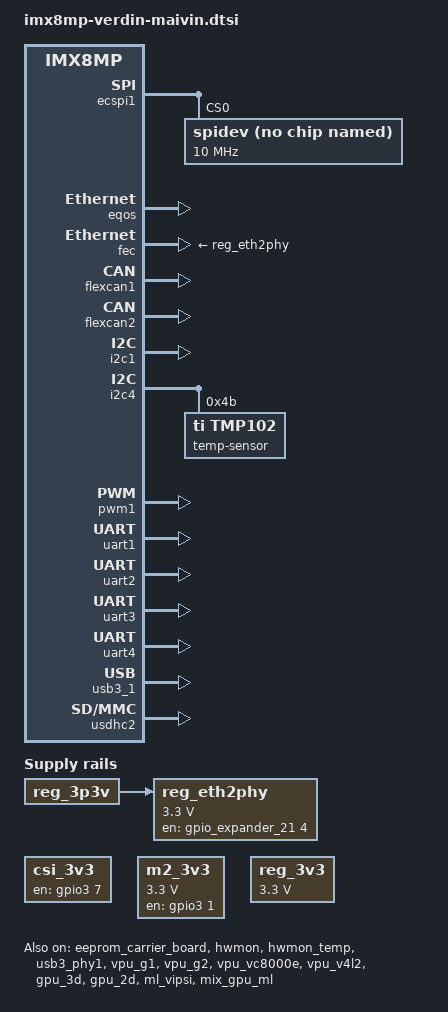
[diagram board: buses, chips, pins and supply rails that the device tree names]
// SPDX-License-Identifier: GPL-2.0-or-later OR MIT
/*
 * Copyright 2022 Toradex
 */

/ {
	reg_eth2phy: regulator-eth2phy {
		compatible = "regulator-fixed";
		enable-active-high;
		gpio = <&gpio_expander_21 4 GPIO_ACTIVE_HIGH>; /* ETH_PWR_EN */
		off-on-delay = <500000>;
		regulator-max-microvolt = <3300000>;
		regulator-min-microvolt = <3300000>;
		regulator-name = "+V3.3_ETH";
		startup-delay-us = <200000>;
		vin-supply = <&reg_3p3v>;
	};

	csi_3v3: regulator-csi-3v3 {
		compatible = "regulator-fixed";
		regulator-name = "CSI_3V3";
		pinctrl-names = "default";
		pinctrl-0 = <&pinctrl_csi_3v3>;
		gpio = <&gpio3 7 GPIO_ACTIVE_HIGH>;
		startup-delay-us = <50000>;
		enable-active-high;
		regulator-always-on;
	};

	m2_3v3: regulator-m2-3v3 {
		compatible = "regulator-fixed";
		regulator-name = "M2_3V3";
		regulator-max-microvolt = <3300000>;
		regulator-min-microvolt = <3300000>;
		pinctrl-names = "default";
		pinctrl-0 = <&pinctrl_m2>;
		gpio = <&gpio3 1 GPIO_ACTIVE_HIGH>;
		enable-active-high;
		regulator-always-on;
	};

	/* Carrier Board Supply 3V3_SW */
	reg_3v3: regulator-3v3-sw {
		compatible = "regulator-fixed";
		regulator-max-microvolt = <3300000>;
		regulator-min-microvolt = <3300000>;
		regulator-name = "3V3_SW";
	};

	leds: led-controller {
		compatible = "pwm-leds";
	};
};

/* Verdin SPI_1 */
&ecspi1 {
	#address-cells = <1>;
	#size-cells = <0>;
	status = "okay";

	spidev@0 {
		/* Use compatible "rohm,dh2228fv" to bind spidev driver */
		compatible = "rohm,dh2228fv";
		reg = <0>;
		spi-max-frequency = <10000000>;
	};
};

/* EEPROM on Verdin Development board */
&eeprom_carrier_board {
	status = "okay";
};

&eqos {
	status = "okay";
};

&fec {
	phy-supply = <&reg_eth2phy>;
	status = "okay";
};

&flexcan1 {
	status = "okay";
};

&flexcan2 {
	status = "okay";
};

&flexspi {
	status = "disabled";
};

&gpio_expander_21 {
	status = "okay";
	vcc-supply = <&reg_1p8v>;
};

/* Current measurement into module VCC */
&hwmon {
	status = "okay";
};

&hwmon_temp {
	vs-supply = <&reg_1p8v>;
	status = "okay";
};

/* Verdin Internal I2C Bus */
&i2c1 {
	status = "okay";
};

/* Verdin I2C_2 */
&i2c2 {
	status = "disabled";
};

/* Verdin I2C_4 */
&i2c3 {
	status = "disabled";
};

/* Verdin I2C_1 */
&i2c4 {
	status = "okay";

	temp-sensor@4b {
		compatible = "ti,tmp102", "tmp102";
		reg = <0x4b>;
	};
};

/* Verdin PCIE_1 */
&pcie {
	status = "disabled";
	pinctrl-names = "default";
	pinctrl-0 = <&pinctrl_m2>;
	reset-gpio = <&gpio3 9 GPIO_ACTIVE_LOW>;	/* /M2_RST (SODIMM 62) */
	disable-gpio = <&gpio3 6 GPIO_ACTIVE_LOW>;	/* CARD_DISABLE (SODIMM 56) */
	epdev_on-supply = <&reg_3p3v>;
	ext_osc = <0>;
};

&pcie_phy {
	status = "disabled";
	ext_osc = <0>;
};

/* Verdin PWM_1 - LED */
&pwm1 {
	status = "okay";
};

/* Verdin PWM_2 */
&pwm2 {
	status = "disabled";
};

/* Verdin PWM_3_DSI */
&pwm3 {
	status = "disabled";
};

&reg_usdhc2_vmmc {
	vin-supply = <&reg_3p3v>;
};

/* VERDIN I2S_1 */
&sai1 {
	#sound-dai-cells = <0>;
	assigned-clocks = <&clk IMX8MP_CLK_SAI1>;
	assigned-clock-parents = <&clk IMX8MP_AUDIO_PLL1_OUT>;
	assigned-clock-rates = <24576000>;
	fsl,sai-mclk-direction-output;
	status = "disabled";
};

&sdma2 {
	status = "okay";
};

/* Verdin UART_1, connector X50 through RS485 transceiver */
&uart1 {
	fsl,uart-has-rtscts;
	linux,rs485-enabled-at-boot-time;
	rs485-rts-active-low;
	rs485-rx-during-tx;
	status = "okay";
};

/* Verdin UART_2 */
&uart2 {
	status = "okay";
};

/* Verdin UART_3, used as the Linux Console */
&uart3 {
	status = "okay";
};

/* Maivin Internal UART (also used by Bluetooth with alternate pins)
 *
 * The Bluetooth UART is removed here by default as it cannot be done from a
 * device tree overlay.  For usage that requires the Bluetooth and UART then
 * refer to imx8mp-verdin-wifi.dtsi Bluetooth configuration and add it as a
 * device tree overlay.
 */
&uart4 {
	pinctrl-names = "default";
	pinctrl-0 = <&pinctrl_uart4>;
	status = "okay";
	/delete-property/ uart-has-rtscts;
	/delete-node/ bluetooth;
};

/* Verdin USB_1 */
&usb3_0 {
	status = "disabled";
};

&usb3_phy0 {
	status = "disabled";
};

/* Verdin USB_2 */
&usb3_1 {
	fsl,permanently-attached;
	status = "okay";
};

&usb3_phy1 {
	status = "okay";
};

/* Limit frequency on dev board due to long traces and bad signal integrity */
&usdhc2 {
	max-frequency = <100000000>;
	status = "okay";
};

&vpu_g1 {
	status = "okay";
};

&vpu_g2 {
	status = "okay";
};

&vpu_vc8000e {
	status = "okay";
};

&vpu_v4l2 {
	status = "okay";
};

&gpu_3d {
	status = "okay";
};

&gpu_2d {
	status = "okay";
};

&ml_vipsi {
	status = "okay";
};

&mix_gpu_ml {
	status = "okay";
};

&iomuxc {
	pinctrl-names = "default";
	pinctrl-0 = <&pinctrl_watchdog>;

	pinctrl_watchdog: watchdog {
		fsl,pins =
			<MX8MP_IOMUXC_NAND_ALE__GPIO3_IO00		0x82>;	/* SODIMM 52 - WDI */
	};

	pinctrl_m2: m2 {
		fsl,pins =
			<MX8MP_IOMUXC_NAND_CE0_B__GPIO3_IO01		0x82>,  /* SODIMM 54 - M2_PWR_EN */
			<MX8MP_IOMUXC_NAND_DATA00__GPIO3_IO06		0x82>,	/* SODIMM 56 - CARD_PWR_OFF */
			<MX8MP_IOMUXC_NAND_DATA03__GPIO3_IO09		0x82>;	/* SODIMM 62 - M2_RST */
	};

	pinctrl_csi_3v3: csi_3v3 {
		fsl,pins =
			<MX8MP_IOMUXC_NAND_DATA01__GPIO3_IO07		0x184>;	/* SODIMM 58 - CSI_EN */
	};
};
